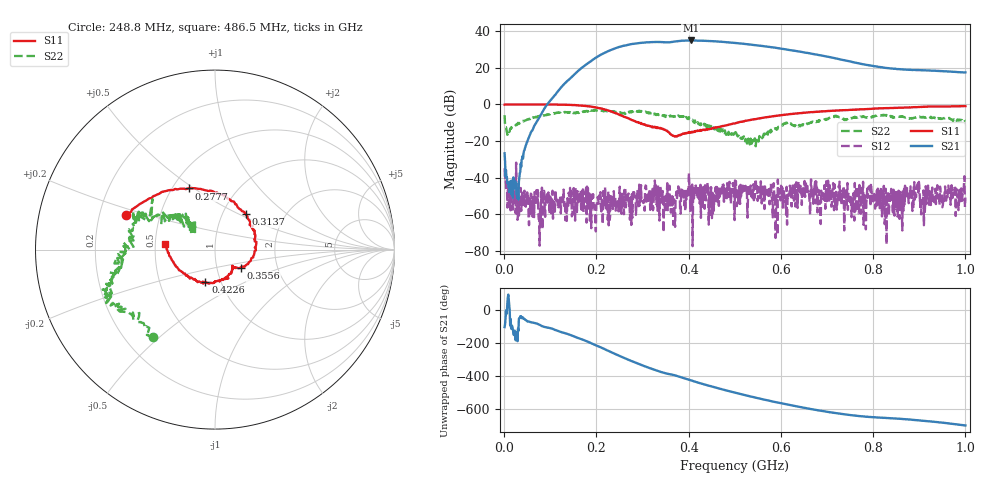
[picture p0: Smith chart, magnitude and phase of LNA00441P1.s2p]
! Created with skrf 1.9.0 (http://scikit-rf.org).
# Hz S RI R 50.0
!freq ReS11 ImS11 ReS21 ImS21 ReS12 ImS12 ReS22 ImS22
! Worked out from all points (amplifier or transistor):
!   1001 points, 1 MHz to 1 GHz, reference 50 ohm
!   highest |S21| = 35.0 dB at 404.6 MHz (marker M1)
!   |S21| within 3 dB of that: 257.4 MHz to 558.5 MHz (301 MHz wide, 73.8 % of centre)
!   unconditionally stable (mu >= 1): 3.696 MHz to 80.32 MHz; 326.8 MHz to 400.3 MHz; 401 MHz to end of sweep (the widest 3 of 33)
!   at 166.8 MHz: K = 3.36, MAG = 30.2 dB, |S12| = -57.0 dB
!   at 500.5 MHz: K = 1.34, MAG = 34.2 dB, |S12| = -41.6 dB
!   at 1 GHz: K = 3.54, MAG = 25.8 dB, |S12| = -50.9 dB
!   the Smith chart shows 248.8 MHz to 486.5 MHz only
!   S11 on the Smith chart (normalised r, x): 248.8 MHz: 0.31, +0.17; 277.7 MHz: 0.60, +0.48; 313.7 MHz: 1.29, +0.54; 355.6 MHz: 1.31, -0.27; 422.6 MHz: 0.84, -0.32; 486.5 MHz: 0.57, +0.04
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1000000  0.9845 0.00307  -0.0102 -0.045  -0.0123 0.0131  0.366 0.3561
1.08892e8  0.527 -0.8419  -0.8036 -1.536  -0.000752 -0.00224  0.43 -0.3671
1.67833e8  -0.2202 -0.9026  -9.925 -0.5857  0.0013 -0.000227  0.0264 -0.6321
2.11789e8  -0.6718 -0.3669  -15.47 17.94  0.00205 0.00178  -0.1987 -0.6369
2.48752e8  -0.4966 0.191  4.229 36.89  -0.000635 0.0015  -0.3439 -0.4867
2.77723e8  -0.1474 0.3409  29.93 33.93  0.00049 0.000613  -0.5636 -0.3114
3.13687e8  0.1719 0.1966  49.67 7.957  -0.00274 0.00258  -0.5754 -0.1527
3.34666e8  0.2287 0.0229  50.21 -9.88  0.000339 0.00415  -0.5094 -0.0604
3.55645e8  0.1458 -0.1016  44.21 -23.39  0.000738 0.00238  -0.479 0.0613
3.77623e8  0.0976 -0.1026  39.62 -36.9  0.00445 0.0036  -0.4559 0.2135
4.04596e8  0.0421 -0.1682  21.47 -52.05  -0.00445 0.00346  -0.3296 0.1836
4.22578e8  -0.0538 -0.1811  7 -55.16  0.00327 0.00296  -0.223 0.1786
4.53547e8  -0.1907 -0.1192  -15.85 -51.17  0.00264 0.00225  -0.1631 0.1691
4.86514e8  -0.2761 0.0311  -33.56 -37.29  0.00226 0.0019  -0.1258 0.1262
5.005e8  -0.283 0.111  -38.38 -29.58  0.00516 -0.00654  -0.1346 0.0572
5.39461e8  -0.2292 0.3114  -41.9 -8.185  0.0043 -0.0017  -0.1013 0.00209
5.86414e8  -0.0471 0.48  -34.02 11.3  0.00156 -0.00244  -0.2065 -0.07
6.25375e8  0.1313 0.5365  -22.51 19.55  -0.000555 -0.00602  -0.251 -0.0995
6.67333e8  0.3264 0.5224  -10.9 21.63  0.00202 -0.00268  -0.3244 0.00458
7.37263e8  0.5661 0.4087  1.199 16.12  7.03e-06 -0.000357  -0.3926 0.0861
8.34166e8  0.7792 0.1594  4.516 8.691  -0.000671 -0.000652  -0.3481 0.326
1e9  0.8192 -0.3807  7.167 2.319  0.00284 0.000129  0.0131 0.3541
